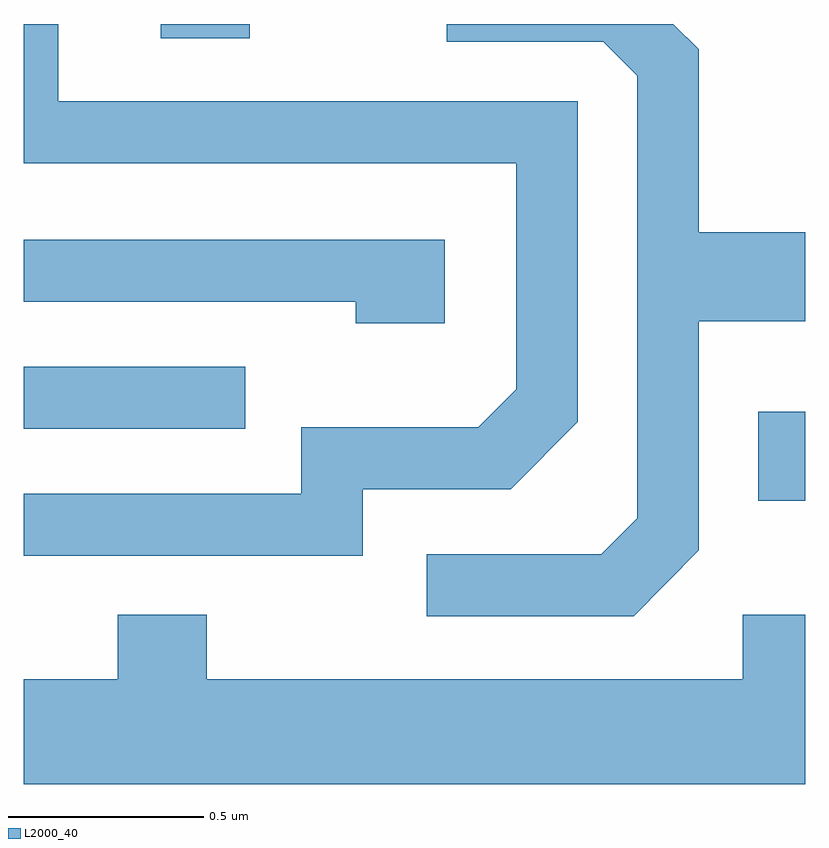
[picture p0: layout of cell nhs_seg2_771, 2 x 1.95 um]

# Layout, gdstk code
import gdstk
lib = gdstk.Library(unit=1e-6, precision=1e-09)
def R(c, l, rs):  # rectangles x0, y0, x1, y1
    for r in rs: c.add(gdstk.rectangle(r[:2], r[2:], *l))
def P(c, l, *ps):  # polygons
    for p in ps: c.add(gdstk.Polygon(p, *l))
L2000_40 = (2000, 40)

nhs_seg2_771 = lib.new_cell('nhs_seg2_771')
R(nhs_seg2_771, L2000_40, [(192.491,1064.581,192.611,1064.809), (190.611,1064.766,191.178,1064.924), (190.961,1065.766,191.189,1065.802)])
P(nhs_seg2_771, L2000_40, [(192.339,1064.454),(192.339,1065.041),(192.611,1065.041),(192.611,1065.269),(192.339,1065.269),(192.339,1065.737),(192.274,1065.802),(191.693,1065.802),(191.693,1065.756),(192.094,1065.756),(192.181,1065.669),(192.181,1064.537),(192.089,1064.444),(191.643,1064.444),(191.643,1064.286),(192.172,1064.286)],
  [(191.479,1064.611),(191.857,1064.611),(192.029,1064.784),(192.029,1065.604),(190.699,1065.604),(190.699,1065.802),(190.611,1065.802),(190.611,1065.446),(191.871,1065.446),(191.871,1064.867),(191.774,1064.769),(191.321,1064.769),(191.321,1064.599),(190.611,1064.599),(190.611,1064.441),(191.479,1064.441)],
  [(191.689,1065.249),(190.611,1065.249),(190.611,1065.091),(191.461,1065.091),(191.461,1065.036),(191.689,1065.036)],
  [(192.611,1064.289),(192.451,1064.289),(192.451,1064.124),(191.079,1064.124),(191.079,1064.289),(190.851,1064.289),(190.851,1064.124),(190.611,1064.124),(190.611,1063.856),(192.611,1063.856)])

lib.write_gds('nhs_seg2_771.gds')
